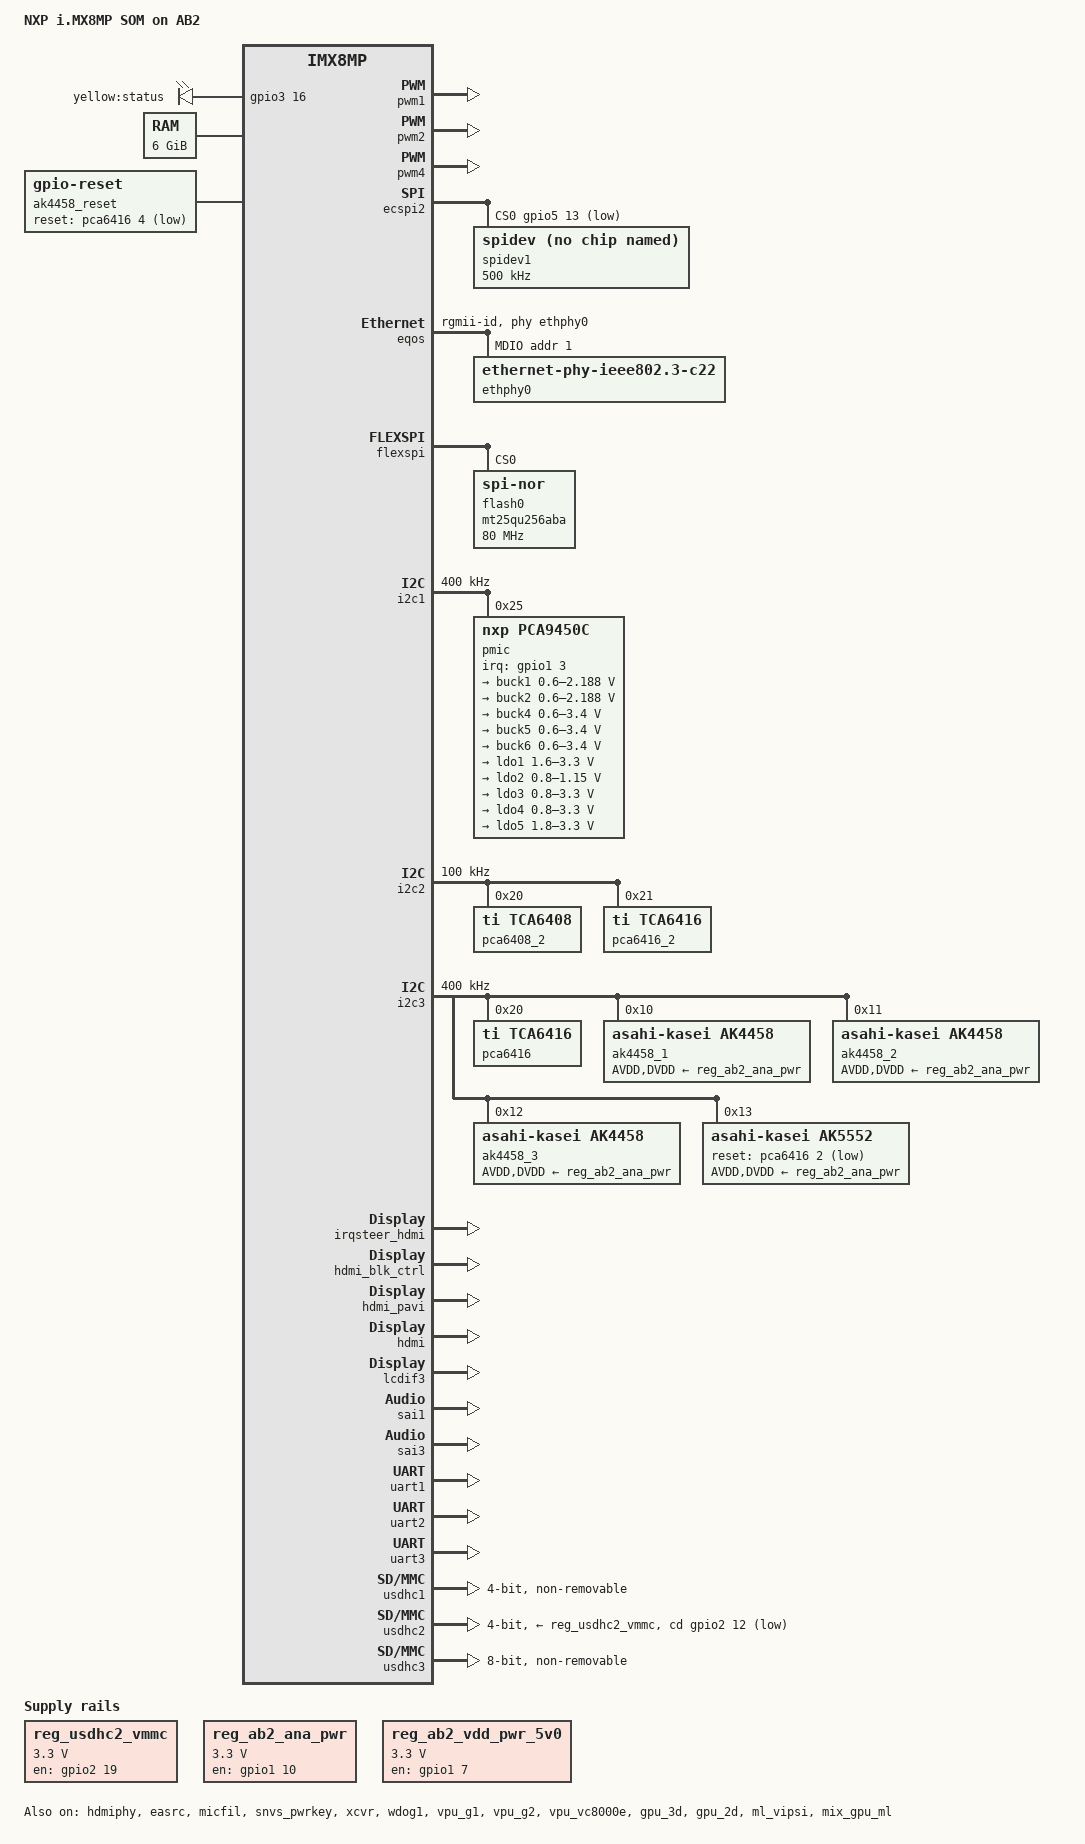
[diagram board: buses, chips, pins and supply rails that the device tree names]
// SPDX-License-Identifier: (GPL-2.0+ OR MIT)
/*
 * Copyright 2020 NXP
 */

/dts-v1/;

#include <dt-bindings/usb/pd.h>
#include "imx8mp.dtsi"

/ {
	model = "NXP i.MX8MP SOM on AB2";
	compatible = "fsl,imx8mp-ab2", "fsl,imx8mp";

	chosen {
		stdout-path = &uart2;
	};

	gpio-leds {
		compatible = "gpio-leds";
		pinctrl-names = "default";
		pinctrl-0 = <&pinctrl_gpio_led>;

		status {
			label = "yellow:status";
			gpios = <&gpio3 16 GPIO_ACTIVE_HIGH>;
			default-state = "on";
		};
	};

	memory@40000000 {
		device_type = "memory";
		reg = <0x0 0x40000000 0 0xc0000000>,
		      <0x1 0x00000000 0 0xc0000000>;
	};

	ak4458_reset: gpio-reset {
		compatible = "gpio-reset";
		reset-gpios = <&pca6416 4 GPIO_ACTIVE_LOW>;
		#reset-cells = <0>;
		initially-in-reset;
	};

	reg_usdhc2_vmmc: regulator-usdhc2 {
		compatible = "regulator-fixed";
		pinctrl-names = "default";
		pinctrl-0 = <&pinctrl_reg_usdhc2_vmmc>;
		regulator-name = "VSD_3V3";
		regulator-min-microvolt = <3300000>;
		regulator-max-microvolt = <3300000>;
		gpio = <&gpio2 19 GPIO_ACTIVE_HIGH>;
		enable-active-high;
	};

	reg_ab2_ana_pwr: regulator-ab2-ana-pwr {
		compatible = "regulator-fixed";
		regulator-name = "ab2_ana_pwr";
		pinctrl-names = "default";
		pinctrl-0 = <&pinctrl_ab2_ana_pwr>;
		regulator-min-microvolt = <3300000>;
		regulator-max-microvolt = <3300000>;
		gpio = <&gpio1 10 GPIO_ACTIVE_HIGH>;
		enable-active-high;
		regulator-always-on;
	};

	reg_ab2_vdd_pwr_5v0: regulator-ab2-vdd-pwr-5v0 {
		compatible = "regulator-fixed";
		regulator-name = "ab2_vdd_pwr_5v0";
		pinctrl-names = "default";
		pinctrl-0 = <&pinctrl_ab2_vdd_pwr_5v0>;
		regulator-min-microvolt = <3300000>;
		regulator-max-microvolt = <3300000>;
		gpio = <&gpio1 7 GPIO_ACTIVE_HIGH>;
		enable-active-high;
		regulator-always-on;
	};

	sound-micfil {
		compatible = "fsl,imx-audio-card";
		model = "micfil-audio";
		pri-dai-link {
			link-name = "micfil hifi";
			format = "i2s";
			cpu {
				sound-dai = <&micfil>;
			};
		};
	};

	sound-xcvr {
		compatible = "fsl,imx-audio-card";
		model = "imx-audio-xcvr";
		pri-dai-link {
			link-name = "XCVR PCM";
			cpu {
				sound-dai = <&xcvr>;
			};
		};
	};

	sound-ak4458 {
		compatible = "fsl,imx-audio-card";
		model = "ak4458-audio";
		pri-dai-link {
			link-name = "akcodec";
			format = "i2s";
			fsl,mclk-equal-bclk;
			cpu {
				sound-dai = <&sai1>;
			};
			codec {
				sound-dai = <&ak4458_1>, <&ak4458_2>;
			};
		};
	};

	sound-ak5552 {
		compatible = "fsl,imx-audio-card";
		model = "ak5552-audio";
		pri-dai-link {
			link-name = "akcodec";
			format = "i2s";
			fsl,mclk-equal-bclk;
			cpu {
				sound-dai = <&sai3>;
			};
			codec {
				sound-dai = <&ak5552>;
			};
		};
	};
};

&{/busfreq} {
	status = "disabled";
};

&A53_0 {
	cpu-supply = <&buck2>;
};

&A53_1 {
	cpu-supply = <&buck2>;
};

&A53_2 {
	cpu-supply = <&buck2>;
};

&A53_3 {
	cpu-supply = <&buck2>;
};

&pwm1 {
	pinctrl-names = "default";
	pinctrl-0 = <&pinctrl_pwm1>;
	status = "okay";
};

&pwm2 {
	pinctrl-names = "default";
	pinctrl-0 = <&pinctrl_pwm2>;
	status = "okay";
};

&pwm4 {
	pinctrl-names = "default";
	pinctrl-0 = <&pinctrl_pwm4>;
	status = "okay";
};

&ecspi2 {
	#address-cells = <1>;
	#size-cells = <0>;
	fsl,spi-num-chipselects = <1>;
	pinctrl-names = "default";
	pinctrl-0 = <&pinctrl_ecspi2 &pinctrl_ecspi2_cs>;
	cs-gpios = <&gpio5 13 GPIO_ACTIVE_LOW>;
	status = "okay";

	spidev1: spi@0 {
		reg = <0>;
		compatible = "rohm,dh2228fv";
		spi-max-frequency = <500000>;
	};
};

&eqos {
	pinctrl-names = "default";
	pinctrl-0 = <&pinctrl_eqos>;
	phy-mode = "rgmii-id";
	phy-handle = <&ethphy0>;
	status = "okay";

	mdio {
		compatible = "snps,dwmac-mdio";
		#address-cells = <1>;
		#size-cells = <0>;

		ethphy0: ethernet-phy@1 {
			compatible = "ethernet-phy-ieee802.3-c22";
			reg = <1>;
			eee-broken-1000t;
		};
	};
};

&flexspi {
	pinctrl-names = "default";
	pinctrl-0 = <&pinctrl_flexspi0>;
	status = "okay";

	flash0: mt25qu256aba@0 {
		reg = <0>;
		#address-cells = <1>;
		#size-cells = <1>;
		compatible = "jedec,spi-nor";
		spi-max-frequency = <80000000>;
		spi-tx-bus-width = <1>;
		spi-rx-bus-width = <4>;
	};
};

&i2c1 {
	clock-frequency = <400000>;
	pinctrl-names = "default";
	pinctrl-0 = <&pinctrl_i2c1>;
	status = "okay";

	pmic: pca9450@25 {
		reg = <0x25>;
		compatible = "nxp,pca9450c";
		/* PMIC PCA9450 PMIC_nINT GPIO1_IO3 */
		pinctrl-0 = <&pinctrl_pmic>;
		interrupt-parent = <&gpio1>;
		interrupts = <3 GPIO_ACTIVE_LOW>;

		regulators {
			buck1: BUCK1 {
				regulator-name = "BUCK1";
				regulator-min-microvolt = <600000>;
				regulator-max-microvolt = <2187500>;
				regulator-boot-on;
				regulator-always-on;
				regulator-ramp-delay = <3125>;
			};

			buck2: BUCK2 {
				regulator-name = "BUCK2";
				regulator-min-microvolt = <600000>;
				regulator-max-microvolt = <2187500>;
				regulator-boot-on;
				regulator-always-on;
				regulator-ramp-delay = <3125>;
				nxp,dvs-run-voltage = <950000>;
				nxp,dvs-standby-voltage = <850000>;
			};

			buck4: BUCK4{
				regulator-name = "BUCK4";
				regulator-min-microvolt = <600000>;
				regulator-max-microvolt = <3400000>;
				regulator-boot-on;
				regulator-always-on;
			};

			buck5: BUCK5{
				regulator-name = "BUCK5";
				regulator-min-microvolt = <600000>;
				regulator-max-microvolt = <3400000>;
				regulator-boot-on;
				regulator-always-on;
			};

			buck6: BUCK6 {
				regulator-name = "BUCK6";
				regulator-min-microvolt = <600000>;
				regulator-max-microvolt = <3400000>;
				regulator-boot-on;
				regulator-always-on;
			};

			ldo1: LDO1 {
				regulator-name = "LDO1";
				regulator-min-microvolt = <1600000>;
				regulator-max-microvolt = <3300000>;
				regulator-boot-on;
				regulator-always-on;
			};

			ldo2: LDO2 {
				regulator-name = "LDO2";
				regulator-min-microvolt = <800000>;
				regulator-max-microvolt = <1150000>;
				regulator-boot-on;
				regulator-always-on;
			};

			ldo3: LDO3 {
				regulator-name = "LDO3";
				regulator-min-microvolt = <800000>;
				regulator-max-microvolt = <3300000>;
				regulator-boot-on;
				regulator-always-on;
			};

			ldo4: LDO4 {
				regulator-name = "LDO4";
				regulator-min-microvolt = <800000>;
				regulator-max-microvolt = <3300000>;
				regulator-boot-on;
				regulator-always-on;
			};

			ldo5: LDO5 {
				regulator-name = "LDO5";
				regulator-min-microvolt = <1800000>;
				regulator-max-microvolt = <3300000>;
				regulator-boot-on;
				regulator-always-on;
			};
		};
	};
};

&i2c2 {
	clock-frequency = <100000>;
	pinctrl-names = "default";
	pinctrl-0 = <&pinctrl_i2c2>;
	status = "okay";

	pca6408_2: gpio@20 {
		compatible = "ti,tca6408";
		reg = <0x20>;
		gpio-controller;
		#gpio-cells = <2>;
	};

	pca6416_2: gpio@21 {
		compatible = "ti,tca6416";
		reg = <0x21>;
		gpio-controller;
		#gpio-cells = <2>;
	};
};

&i2c3 {
	clock-frequency = <400000>;
	pinctrl-names = "default";
	pinctrl-0 = <&pinctrl_i2c3>;
	status = "okay";

	pca6416: gpio@20 {
		compatible = "ti,tca6416";
		reg = <0x20>;
		gpio-controller;
		#gpio-cells = <2>;
	};

	ak4458_1: ak4458@10 {
		#sound-dai-cells = <0>;
		sound-name-prefix = "0";
		compatible = "asahi-kasei,ak4458";
		reg = <0x10>;
		resets = <&ak4458_reset>;
		AVDD-supply = <&reg_ab2_ana_pwr>;
		DVDD-supply = <&reg_ab2_ana_pwr>;
	};

	ak4458_2: ak4458@11 {
		#sound-dai-cells = <0>;
		sound-name-prefix = "1";
		compatible = "asahi-kasei,ak4458";
		reg = <0x11>;
		resets = <&ak4458_reset>;
		AVDD-supply = <&reg_ab2_ana_pwr>;
		DVDD-supply = <&reg_ab2_ana_pwr>;
	};

	ak4458_3: ak4458@12 {
		#sound-dai-cells = <0>;
		compatible = "asahi-kasei,ak4458";
		reg = <0x12>;
		resets = <&ak4458_reset>;
		AVDD-supply = <&reg_ab2_ana_pwr>;
		DVDD-supply = <&reg_ab2_ana_pwr>;
	};

	ak5552: ak5552@13 {
		#sound-dai-cells = <0>;
		compatible = "asahi-kasei,ak5552";
		reg = <0x13>;
		reset-gpios = <&pca6416 2 GPIO_ACTIVE_LOW>;
		AVDD-supply = <&reg_ab2_ana_pwr>;
		DVDD-supply = <&reg_ab2_ana_pwr>;
	};
};

&irqsteer_hdmi {
	status = "okay";
};

&hdmi_blk_ctrl {
	status = "okay";
};

&hdmi_pavi {
	status = "okay";
};

&hdmi {
	status = "okay";
};

&hdmiphy {
	status = "okay";
};

&lcdif3 {
	status = "okay";
};

&easrc {
	#sound-dai-cells = <0>;
	fsl,asrc-rate  = <48000>;
	status = "okay";
};

&micfil {
	#sound-dai-cells = <0>;
	pinctrl-names = "default";
	pinctrl-0 = <&pinctrl_pdm>;
	assigned-clocks = <&clk IMX8MP_CLK_PDM>;
	assigned-clock-parents = <&clk IMX8MP_AUDIO_PLL1_OUT>;
	assigned-clock-rates = <196608000>;
	status = "okay";
};

&sai1 {
	#sound-dai-cells = <0>;
	pinctrl-names = "default";
	pinctrl-0 = <&pinctrl_sai1>;
	assigned-clocks = <&clk IMX8MP_CLK_SAI1>;
	assigned-clock-parents = <&clk IMX8MP_AUDIO_PLL1_OUT>;
	assigned-clock-rates = <49152000>;
	clocks = <&audio_blk_ctrl IMX8MP_CLK_AUDIOMIX_SAI1_IPG>, <&clk IMX8MP_CLK_DUMMY>,
		<&audio_blk_ctrl IMX8MP_CLK_AUDIOMIX_SAI1_MCLK1>, <&clk IMX8MP_CLK_DUMMY>,
		<&clk IMX8MP_CLK_DUMMY>, <&clk IMX8MP_AUDIO_PLL1_OUT>,
		<&clk IMX8MP_AUDIO_PLL2_OUT>;
	clock-names = "bus", "mclk0", "mclk1", "mclk2", "mclk3", "pll8k", "pll11k";
	fsl,sai-multi-lane;
	fsl,dataline = <2 0xff 0xff>;
	fsl,sai-mclk-direction-output;
	dmas = <&sdma2 0 25 0>, <&sdma2 1 25 0>;
	status = "okay";
};

&sai3 {
	#sound-dai-cells = <0>;
	pinctrl-names = "default";
	pinctrl-0 = <&pinctrl_sai3>;
	assigned-clocks = <&clk IMX8MP_CLK_SAI3>;
	assigned-clock-parents = <&clk IMX8MP_AUDIO_PLL1_OUT>;
	assigned-clock-rates = <49152000>;
	clocks = <&audio_blk_ctrl IMX8MP_CLK_AUDIOMIX_SAI3_IPG>, <&clk IMX8MP_CLK_DUMMY>,
		<&audio_blk_ctrl IMX8MP_CLK_AUDIOMIX_SAI3_MCLK1>, <&clk IMX8MP_CLK_DUMMY>,
		<&clk IMX8MP_CLK_DUMMY>, <&clk IMX8MP_AUDIO_PLL1_OUT>,
		<&clk IMX8MP_AUDIO_PLL2_OUT>;
	clock-names = "bus", "mclk0", "mclk1", "mclk2", "mclk3", "pll8k", "pll11k";
	fsl,sai-asynchronous;
	fsl,sai-mclk-direction-output;
	status = "okay";
};

&snvs_pwrkey {
	status = "okay";
};

&xcvr {
	pinctrl-names = "default";
	pinctrl-0 = <&pinctrl_xcvr>;
	#sound-dai-cells = <0>;
	status = "okay";
};

&sdma2 {
	status = "okay";
};

&uart1 { /* BT */
	pinctrl-names = "default";
	pinctrl-0 = <&pinctrl_uart1>;
	assigned-clocks = <&clk IMX8MP_CLK_UART1>;
	assigned-clock-parents = <&clk IMX8MP_SYS_PLL1_80M>;
	fsl,uart-has-rtscts;
	status = "okay";
};

&uart2 {
	/* console */
	pinctrl-names = "default";
	pinctrl-0 = <&pinctrl_uart2>;
	status = "okay";
};

&uart3 {
	pinctrl-names = "default";
	pinctrl-0 = <&pinctrl_uart3>;
	assigned-clocks = <&clk IMX8MP_CLK_UART3>;
	assigned-clock-parents = <&clk IMX8MP_SYS_PLL1_80M>;
	fsl,uart-has-rtscts;
	status = "okay";
};

&usdhc1 {
	assigned-clocks = <&clk IMX8MP_CLK_USDHC1>;
	assigned-clock-rates = <400000000>;
	pinctrl-names = "default", "state_100mhz", "state_200mhz";
	pinctrl-0 = <&pinctrl_usdhc1>;
	pinctrl-1 = <&pinctrl_usdhc1_100mhz>;
	pinctrl-2 = <&pinctrl_usdhc1_200mhz>;
	bus-width = <4>;
	non-removable;
	status = "okay";
};

&usdhc2 {
	assigned-clocks = <&clk IMX8MP_CLK_USDHC2>;
	assigned-clock-rates = <400000000>;
	pinctrl-names = "default", "state_100mhz", "state_200mhz";
	pinctrl-0 = <&pinctrl_usdhc2>, <&pinctrl_usdhc2_gpio>;
	pinctrl-1 = <&pinctrl_usdhc2_100mhz>, <&pinctrl_usdhc2_gpio>;
	pinctrl-2 = <&pinctrl_usdhc2_200mhz>, <&pinctrl_usdhc2_gpio>;
	cd-gpios = <&gpio2 12 GPIO_ACTIVE_LOW>;
	vmmc-supply = <&reg_usdhc2_vmmc>;
	bus-width = <4>;
	status = "okay";
};

&usdhc3 {
	assigned-clocks = <&clk IMX8MP_CLK_USDHC3>;
	assigned-clock-rates = <400000000>;
	pinctrl-names = "default", "state_100mhz", "state_200mhz";
	pinctrl-0 = <&pinctrl_usdhc3>;
	pinctrl-1 = <&pinctrl_usdhc3_100mhz>;
	pinctrl-2 = <&pinctrl_usdhc3_200mhz>;
	bus-width = <8>;
	non-removable;
	status = "okay";
};

&wdog1 {
	pinctrl-names = "default";
	pinctrl-0 = <&pinctrl_wdog>;
	fsl,ext-reset-output;
	status = "okay";
};

&iomuxc {
	pinctrl-names = "default";
	pinctrl-0 = <&pinctrl_hog>;

	pinctrl_hog: hoggrp {
		fsl,pins = <
			MX8MP_IOMUXC_HDMI_DDC_SCL__HDMIMIX_HDMI_SCL	0x400001c2
			MX8MP_IOMUXC_HDMI_DDC_SDA__HDMIMIX_HDMI_SDA	0x400001c2
			MX8MP_IOMUXC_HDMI_HPD__HDMIMIX_HDMI_HPD		0x40000010
			MX8MP_IOMUXC_HDMI_CEC__HDMIMIX_HDMI_CEC		0x40000010
		>;
	};

	pinctrl_pwm1: pwm1grp {
		fsl,pins = <
			MX8MP_IOMUXC_GPIO1_IO01__PWM1_OUT	0x116
		>;
	};

	pinctrl_pwm2: pwm2grp {
		fsl,pins = <
			MX8MP_IOMUXC_GPIO1_IO11__PWM2_OUT	0x116
		>;
	};

	pinctrl_pwm4: pwm4grp {
		fsl,pins = <
			MX8MP_IOMUXC_SAI5_RXFS__PWM4_OUT	0x116
		>;
	};

	pinctrl_ecspi2: ecspi2grp {
		fsl,pins = <
			MX8MP_IOMUXC_ECSPI2_SCLK__ECSPI2_SCLK		0x82
			MX8MP_IOMUXC_ECSPI2_MOSI__ECSPI2_MOSI		0x82
			MX8MP_IOMUXC_ECSPI2_MISO__ECSPI2_MISO		0x82
		>;
	};

	pinctrl_ecspi2_cs: ecspi2cs {
		fsl,pins = <
			MX8MP_IOMUXC_ECSPI2_SS0__GPIO5_IO13		0x40000
		>;
	};

	pinctrl_eqos: eqosgrp {
		fsl,pins = <
			MX8MP_IOMUXC_ENET_MDC__ENET_QOS_MDC		0x2
			MX8MP_IOMUXC_ENET_MDIO__ENET_QOS_MDIO		0x2
			MX8MP_IOMUXC_ENET_RD0__ENET_QOS_RGMII_RD0	0x90
			MX8MP_IOMUXC_ENET_RD1__ENET_QOS_RGMII_RD1	0x90
			MX8MP_IOMUXC_ENET_RD2__ENET_QOS_RGMII_RD2	0x90
			MX8MP_IOMUXC_ENET_RD3__ENET_QOS_RGMII_RD3	0x90
			MX8MP_IOMUXC_ENET_RXC__CCM_ENET_QOS_CLOCK_GENERATE_RX_CLK	0x90
			MX8MP_IOMUXC_ENET_RX_CTL__ENET_QOS_RGMII_RX_CTL	0x90
			MX8MP_IOMUXC_ENET_TD0__ENET_QOS_RGMII_TD0	0x16
			MX8MP_IOMUXC_ENET_TD1__ENET_QOS_RGMII_TD1	0x16
			MX8MP_IOMUXC_ENET_TD2__ENET_QOS_RGMII_TD2	0x16
			MX8MP_IOMUXC_ENET_TD3__ENET_QOS_RGMII_TD3	0x16
			MX8MP_IOMUXC_ENET_TX_CTL__ENET_QOS_RGMII_TX_CTL	0x16
			MX8MP_IOMUXC_ENET_TXC__CCM_ENET_QOS_CLOCK_GENERATE_TX_CLK	0x16
			MX8MP_IOMUXC_GPIO1_IO05__GPIO1_IO05		0x10
		>;
	};

	pinctrl_flexspi0: flexspi0grp {
		fsl,pins = <
			MX8MP_IOMUXC_NAND_ALE__FLEXSPI_A_SCLK           0x1c2
			MX8MP_IOMUXC_NAND_CE0_B__FLEXSPI_A_SS0_B        0x82
			MX8MP_IOMUXC_NAND_DATA00__FLEXSPI_A_DATA00      0x82
			MX8MP_IOMUXC_NAND_DATA01__FLEXSPI_A_DATA01      0x82
			MX8MP_IOMUXC_NAND_DATA02__FLEXSPI_A_DATA02      0x82
			MX8MP_IOMUXC_NAND_DATA03__FLEXSPI_A_DATA03      0x82
		>;
	};

	pinctrl_gpio_led: gpioledgrp {
		fsl,pins = <
			MX8MP_IOMUXC_NAND_READY_B__GPIO3_IO16	0x10
		>;
	};

	pinctrl_i2c1: i2c1grp {
		fsl,pins = <
			MX8MP_IOMUXC_I2C1_SCL__I2C1_SCL		0x400001c2
			MX8MP_IOMUXC_I2C1_SDA__I2C1_SDA		0x400001c2
		>;
	};

	pinctrl_i2c2: i2c2grp {
		fsl,pins = <
			MX8MP_IOMUXC_I2C2_SCL__I2C2_SCL		0x400001c2
			MX8MP_IOMUXC_I2C2_SDA__I2C2_SDA		0x400001c2
		>;
	};

	pinctrl_i2c3: i2c3grp {
		fsl,pins = <
			MX8MP_IOMUXC_I2C3_SCL__I2C3_SCL		0x400001c2
			MX8MP_IOMUXC_I2C3_SDA__I2C3_SDA		0x400001c2
		>;
	};

	pinctrl_pmic: pmicirq {
		fsl,pins = <
			MX8MP_IOMUXC_GPIO1_IO03__GPIO1_IO03	0x41
		>;
	};

	pinctrl_reg_usdhc2_vmmc: regusdhc2vmmcgrp {
		fsl,pins = <
			MX8MP_IOMUXC_SD2_RESET_B__GPIO2_IO19	0x41
		>;
	};

	pinctrl_ab2_ana_pwr: ab2anapwrgrp {
		fsl,pins = <
			MX8MP_IOMUXC_GPIO1_IO10__GPIO1_IO10	0xd6
		>;
	};

	pinctrl_ab2_vdd_pwr_5v0: ab2vddpwr5v0grp {
		fsl,pins = <
			MX8MP_IOMUXC_GPIO1_IO07__GPIO1_IO07	0xd6
		>;
	};

	pinctrl_pdm: pdmgrp {
		fsl,pins = <
			MX8MP_IOMUXC_SAI5_RXC__AUDIOMIX_PDM_CLK		0xd6
			MX8MP_IOMUXC_SAI5_RXD0__AUDIOMIX_PDM_BIT_STREAM00	0xd6
			MX8MP_IOMUXC_SAI5_RXD1__AUDIOMIX_PDM_BIT_STREAM01	0xd6
			MX8MP_IOMUXC_SAI5_RXD2__AUDIOMIX_PDM_BIT_STREAM02	0xd6
			MX8MP_IOMUXC_SAI5_RXD3__AUDIOMIX_PDM_BIT_STREAM03	0xd6
		>;
	};

	pinctrl_sai1: sai1grp {
		fsl,pins = <
			MX8MP_IOMUXC_SAI1_MCLK__AUDIOMIX_SAI1_MCLK	0xd6
			MX8MP_IOMUXC_SAI1_TXFS__AUDIOMIX_SAI1_TX_SYNC	0xd6
			MX8MP_IOMUXC_SAI1_TXC__AUDIOMIX_SAI1_TX_BCLK	0xd6
			MX8MP_IOMUXC_SAI1_TXD0__AUDIOMIX_SAI1_TX_DATA00	0xd6
			MX8MP_IOMUXC_SAI1_TXD1__AUDIOMIX_SAI1_TX_DATA01	0xd6
			MX8MP_IOMUXC_SAI1_TXD2__AUDIOMIX_SAI1_TX_DATA02	0xd6
			MX8MP_IOMUXC_SAI1_TXD3__AUDIOMIX_SAI1_TX_DATA03	0xd6
			MX8MP_IOMUXC_SAI1_TXD4__AUDIOMIX_SAI1_TX_DATA04	0xd6
			MX8MP_IOMUXC_SAI1_TXD5__AUDIOMIX_SAI1_TX_DATA05	0xd6
			MX8MP_IOMUXC_SAI1_TXD6__AUDIOMIX_SAI1_TX_DATA06	0xd6
			MX8MP_IOMUXC_SAI1_TXD7__AUDIOMIX_SAI1_TX_DATA07	0xd6
		>;
	};

	pinctrl_sai3: sai3grp {
		fsl,pins = <
			MX8MP_IOMUXC_SAI3_MCLK__AUDIOMIX_SAI3_MCLK	0xd6
			MX8MP_IOMUXC_SAI3_RXC__AUDIOMIX_SAI3_RX_BCLK	0xd6
			MX8MP_IOMUXC_SAI3_RXFS__AUDIOMIX_SAI3_RX_SYNC	0xd6
			MX8MP_IOMUXC_SAI3_RXD__AUDIOMIX_SAI3_RX_DATA00	0xd6
		>;
	};

	pinctrl_xcvr: xcvrgrp {
		fsl,pins = <
			MX8MP_IOMUXC_SPDIF_EXT_CLK__AUDIOMIX_SPDIF1_EXT_CLK	0xd6
			MX8MP_IOMUXC_SPDIF_RX__AUDIOMIX_SPDIF1_IN	0xd6
			MX8MP_IOMUXC_SPDIF_TX__AUDIOMIX_SPDIF1_OUT	0xd6
		>;
	};

	pinctrl_uart1: uart1grp {
		fsl,pins = <
			MX8MP_IOMUXC_UART1_RXD__UART1_DCE_RX	0x140
			MX8MP_IOMUXC_UART1_TXD__UART1_DCE_TX	0x140
			MX8MP_IOMUXC_UART3_RXD__UART1_DCE_CTS	0x140
			MX8MP_IOMUXC_UART3_TXD__UART1_DCE_RTS	0x140
		>;
	};

	pinctrl_uart2: uart2grp {
		fsl,pins = <
			MX8MP_IOMUXC_UART2_RXD__UART2_DCE_RX	0x140
			MX8MP_IOMUXC_UART2_TXD__UART2_DCE_TX	0x140
		>;
	};

	pinctrl_uart3: uart3grp {
		fsl,pins = <
			MX8MP_IOMUXC_ECSPI1_SCLK__UART3_DCE_RX		0x140
			MX8MP_IOMUXC_ECSPI1_MOSI__UART3_DCE_TX		0x140
			MX8MP_IOMUXC_ECSPI1_SS0__UART3_DCE_RTS		0x140
			MX8MP_IOMUXC_ECSPI1_MISO__UART3_DCE_CTS		0x140
		>;
	};

	pinctrl_usdhc1: usdhc1grp {
		fsl,pins = <
			MX8MP_IOMUXC_SD1_CLK__USDHC1_CLK	0x190
			MX8MP_IOMUXC_SD1_CMD__USDHC1_CMD	0x1d0
			MX8MP_IOMUXC_SD1_DATA0__USDHC1_DATA0	0x1d0
			MX8MP_IOMUXC_SD1_DATA1__USDHC1_DATA1	0x1d0
			MX8MP_IOMUXC_SD1_DATA2__USDHC1_DATA2	0x1d0
			MX8MP_IOMUXC_SD1_DATA3__USDHC1_DATA3	0x1d0
		>;
	};

	pinctrl_usdhc1_100mhz: usdhc1grp-100mhz {
		fsl,pins = <
			MX8MP_IOMUXC_SD1_CLK__USDHC1_CLK	0x194
			MX8MP_IOMUXC_SD1_CMD__USDHC1_CMD	0x1d4
			MX8MP_IOMUXC_SD1_DATA0__USDHC1_DATA0	0x1d4
			MX8MP_IOMUXC_SD1_DATA1__USDHC1_DATA1	0x1d4
			MX8MP_IOMUXC_SD1_DATA2__USDHC1_DATA2	0x1d4
			MX8MP_IOMUXC_SD1_DATA3__USDHC1_DATA3	0x1d4
		>;
	};

	pinctrl_usdhc1_200mhz: usdhc1grp-200mhz {
		fsl,pins = <
			MX8MP_IOMUXC_SD1_CLK__USDHC1_CLK	0x196
			MX8MP_IOMUXC_SD1_CMD__USDHC1_CMD	0x1d6
			MX8MP_IOMUXC_SD1_DATA0__USDHC1_DATA0	0x1d6
			MX8MP_IOMUXC_SD1_DATA1__USDHC1_DATA1	0x1d6
			MX8MP_IOMUXC_SD1_DATA2__USDHC1_DATA2	0x1d6
			MX8MP_IOMUXC_SD1_DATA3__USDHC1_DATA3	0x1d6
		>;
	};

	pinctrl_usdhc2: usdhc2grp {
		fsl,pins = <
			MX8MP_IOMUXC_SD2_CLK__USDHC2_CLK	0x190
			MX8MP_IOMUXC_SD2_CMD__USDHC2_CMD	0x1d0
			MX8MP_IOMUXC_SD2_DATA0__USDHC2_DATA0	0x1d0
			MX8MP_IOMUXC_SD2_DATA1__USDHC2_DATA1	0x1d0
			MX8MP_IOMUXC_SD2_DATA2__USDHC2_DATA2	0x1d0
			MX8MP_IOMUXC_SD2_DATA3__USDHC2_DATA3	0x1d0
			MX8MP_IOMUXC_GPIO1_IO04__USDHC2_VSELECT	0xc0
		>;
	};

	pinctrl_usdhc2_100mhz: usdhc2-100mhzgrp {
		fsl,pins = <
			MX8MP_IOMUXC_SD2_CLK__USDHC2_CLK	0x194
			MX8MP_IOMUXC_SD2_CMD__USDHC2_CMD	0x1d4
			MX8MP_IOMUXC_SD2_DATA0__USDHC2_DATA0	0x1d4
			MX8MP_IOMUXC_SD2_DATA1__USDHC2_DATA1	0x1d4
			MX8MP_IOMUXC_SD2_DATA2__USDHC2_DATA2	0x1d4
			MX8MP_IOMUXC_SD2_DATA3__USDHC2_DATA3	0x1d4
			MX8MP_IOMUXC_GPIO1_IO04__USDHC2_VSELECT 0xc0
		>;
	};

	pinctrl_usdhc2_200mhz: usdhc2-200mhzgrp {
		fsl,pins = <
			MX8MP_IOMUXC_SD2_CLK__USDHC2_CLK	0x196
			MX8MP_IOMUXC_SD2_CMD__USDHC2_CMD	0x1d6
			MX8MP_IOMUXC_SD2_DATA0__USDHC2_DATA0	0x1d6
			MX8MP_IOMUXC_SD2_DATA1__USDHC2_DATA1	0x1d6
			MX8MP_IOMUXC_SD2_DATA2__USDHC2_DATA2	0x1d6
			MX8MP_IOMUXC_SD2_DATA3__USDHC2_DATA3	0x1d6
			MX8MP_IOMUXC_GPIO1_IO04__USDHC2_VSELECT 0xc0
		>;
	};

	pinctrl_usdhc2_gpio: usdhc2gpiogrp {
		fsl,pins = <
			MX8MP_IOMUXC_SD2_CD_B__GPIO2_IO12	0x1c4
		>;
	};

	pinctrl_usdhc3: usdhc3grp {
		fsl,pins = <
			MX8MP_IOMUXC_NAND_WE_B__USDHC3_CLK	0x190
			MX8MP_IOMUXC_NAND_WP_B__USDHC3_CMD	0x1d0
			MX8MP_IOMUXC_NAND_DATA04__USDHC3_DATA0	0x1d0
			MX8MP_IOMUXC_NAND_DATA05__USDHC3_DATA1	0x1d0
			MX8MP_IOMUXC_NAND_DATA06__USDHC3_DATA2	0x1d0
			MX8MP_IOMUXC_NAND_DATA07__USDHC3_DATA3	0x1d0
			MX8MP_IOMUXC_NAND_RE_B__USDHC3_DATA4	0x1d0
			MX8MP_IOMUXC_NAND_CE2_B__USDHC3_DATA5	0x1d0
			MX8MP_IOMUXC_NAND_CE3_B__USDHC3_DATA6	0x1d0
			MX8MP_IOMUXC_NAND_CLE__USDHC3_DATA7	0x1d0
			MX8MP_IOMUXC_NAND_CE1_B__USDHC3_STROBE	0x190
		>;
	};

	pinctrl_usdhc3_100mhz: usdhc3-100mhzgrp {
		fsl,pins = <
			MX8MP_IOMUXC_NAND_WE_B__USDHC3_CLK	0x194
			MX8MP_IOMUXC_NAND_WP_B__USDHC3_CMD	0x1d4
			MX8MP_IOMUXC_NAND_DATA04__USDHC3_DATA0	0x1d4
			MX8MP_IOMUXC_NAND_DATA05__USDHC3_DATA1	0x1d4
			MX8MP_IOMUXC_NAND_DATA06__USDHC3_DATA2	0x1d4
			MX8MP_IOMUXC_NAND_DATA07__USDHC3_DATA3	0x1d4
			MX8MP_IOMUXC_NAND_RE_B__USDHC3_DATA4	0x1d4
			MX8MP_IOMUXC_NAND_CE2_B__USDHC3_DATA5	0x1d4
			MX8MP_IOMUXC_NAND_CE3_B__USDHC3_DATA6	0x1d4
			MX8MP_IOMUXC_NAND_CLE__USDHC3_DATA7	0x1d4
			MX8MP_IOMUXC_NAND_CE1_B__USDHC3_STROBE	0x194
		>;
	};

	pinctrl_usdhc3_200mhz: usdhc3-200mhzgrp {
		fsl,pins = <
			MX8MP_IOMUXC_NAND_WE_B__USDHC3_CLK	0x196
			MX8MP_IOMUXC_NAND_WP_B__USDHC3_CMD	0x1d6
			MX8MP_IOMUXC_NAND_DATA04__USDHC3_DATA0	0x1d6
			MX8MP_IOMUXC_NAND_DATA05__USDHC3_DATA1	0x1d6
			MX8MP_IOMUXC_NAND_DATA06__USDHC3_DATA2	0x1d6
			MX8MP_IOMUXC_NAND_DATA07__USDHC3_DATA3	0x1d6
			MX8MP_IOMUXC_NAND_RE_B__USDHC3_DATA4	0x1d6
			MX8MP_IOMUXC_NAND_CE2_B__USDHC3_DATA5	0x1d6
			MX8MP_IOMUXC_NAND_CE3_B__USDHC3_DATA6	0x1d6
			MX8MP_IOMUXC_NAND_CLE__USDHC3_DATA7	0x1d6
			MX8MP_IOMUXC_NAND_CE1_B__USDHC3_STROBE	0x196
		>;
	};

	pinctrl_wdog: wdoggrp {
		fsl,pins = <
			MX8MP_IOMUXC_GPIO1_IO02__WDOG1_WDOG_B	0xc6
		>;
	};
};

&vpu_g1 {
	status = "okay";
};

&vpu_g2 {
	status = "okay";
};

&vpu_vc8000e {
	status = "okay";
};

&gpu_3d {
	status = "okay";
};

&gpu_2d {
	status = "okay";
};

&ml_vipsi {
	status = "okay";
};

&mix_gpu_ml {
	status = "okay";
};
